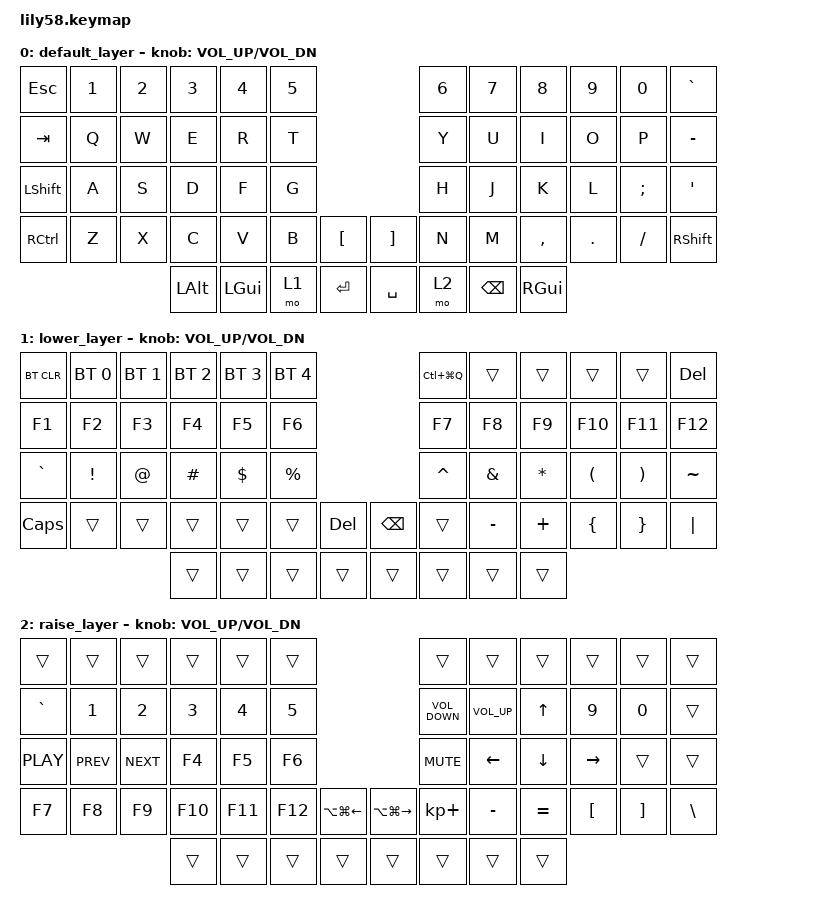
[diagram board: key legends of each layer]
/*
 * Copyright (c) 2020 The ZMK Contributors
 *
 * SPDX-License-Identifier: MIT
 */

#include <behaviors.dtsi>
#include <dt-bindings/zmk/bt.h>
#include <dt-bindings/zmk/keys.h>

/ {
    keymap {
        compatible = "zmk,keymap";

        default_layer {
            // ------------------------------------------------------------------------------------------------------------
            // |  ESC  |  1  |  2  |  3   |  4   |  5   |                   |  6   |  7    |  8    |  9   |   0   |   `   |
            // |  TAB  |  Q  |  W  |  E   |  R   |  T   |                   |  Y   |  U    |  I    |  O   |   P   |   -   |
            // |  CTRL |  A  |  S  |  D   |  F   |  G   |                   |  H   |  J    |  K    |  L   |   ;   |   '   |
            // | SHIFT |  Z  |  X  |  C   |  V   |  B   |   "["  |  |  "]"  |  N   |  M    |  ,    |  .   |   /   | SHIFT |
            //                     | ALT  | GUI  | LOWER|  ENTER |  | SPACE | RAISE| BSPC  | GUI   |

            bindings = <
&kp ESC            &kp N1  &kp N2  &kp N3    &kp N4    &kp N5                          &kp N6  &kp N7    &kp N8     &kp N9   &kp N0    &kp GRAVE
&kp TAB            &kp Q   &kp W   &kp E     &kp R     &kp T                           &kp Y   &kp U     &kp I      &kp O    &kp P     &kp MINUS
&kp LSHFT          &kp A   &kp S   &kp D     &kp F     &kp G                           &kp H   &kp J     &kp K      &kp L    &kp SEMI  &kp SQT
&kp RIGHT_CONTROL  &kp Z   &kp X   &kp C     &kp V     &kp B   &kp LBKT     &kp RBKT   &kp N   &kp M     &kp COMMA  &kp DOT  &kp FSLH  &kp RSHFT
                                   &kp LALT  &kp LGUI  &mo 1   &kp ENTER    &kp SPACE  &mo 2   &kp BSPC  &kp RGUI
            >;

            sensor-bindings = <&inc_dec_kp C_VOL_UP C_VOL_DN>;
        };

        lower_layer {
            // ------------------------------------------------------------------------------------------------------------
            // | BTCLR | BT1 | BT2 |  BT3 |  BT4 |  BT5 |                   |      |       |       |      |       |       |
            // |  F1   |  F2 |  F3 |  F4  |  F5  |  F6  |                   |  F7  |  F8   |  F9   |  F10 |  F11  |  F12  |
            // |   `   |  !  |  @  |  #   |  $   |  %   |                   |  ^   |  &    |  *    |  (   |   )   |   ~   |
            // |       |     |     |      |      |      |        |  | BSPC  |      |  _    |  +    |  {   |   }   |  "|"  |
            //                     |      |      |      |        |  |       |      |       |       |

            bindings = <
&bt BT_CLR    &bt BT_SEL 0  &bt BT_SEL 1  &bt BT_SEL 2  &bt BT_SEL 3  &bt BT_SEL 4                          &kp LC(LG(Q))  &trans     &trans     &trans    &trans    &kp DELETE
&kp F1        &kp F2        &kp F3        &kp F4        &kp F5        &kp F6                                &kp F7         &kp F8     &kp F9     &kp F10   &kp F11   &kp F12
&kp GRAVE     &kp EXCL      &kp AT        &kp HASH      &kp DOLLAR    &kp PRCNT                             &kp CARET      &kp AMPS   &kp ASTRK  &kp LPAR  &kp RPAR  &kp TILDE
&kp CAPSLOCK  &trans        &trans        &trans        &trans        &trans        &kp DELETE    &kp BSPC  &trans         &kp MINUS  &kp PLUS   &kp LBRC  &kp RBRC  &kp PIPE
                                          &trans        &trans        &trans        &trans        &trans    &trans         &trans     &trans
            >;

            sensor-bindings = <&inc_dec_kp C_VOL_UP C_VOL_DN>;
        };

        raise_layer {
            // ------------------------------------------------------------------------------------------------------------
            // |       |     |     |      |      |      |                   |      |       |       |      |       |       |
            // |   `   |  1  |  2  |  3   |  4   |  5   |                   |  6   |   7   |   8   |  9   |   0   |       |
            // |   F1  |  F2 |  F3 |  F4  |  F5  |  F6  |                   |      |   <-  |   v   |  ^   |  ->   |       |
            // |   F7  |  F8 |  F9 |  F10 |  F11 |  F12 |        |  |       |  +   |   -   |   =   |  [   |   ]   |   \   |
            //                     |      |      |      |        |  |       |      |       |       |

            bindings = <
&trans      &trans      &trans      &trans   &trans   &trans                                                      &trans             &trans           &trans        &trans     &trans    &trans
&kp GRAVE   &kp N1      &kp N2      &kp N3   &kp N4   &kp N5                                                      &kp C_VOLUME_DOWN  &kp C_VOLUME_UP  &kp UP_ARROW  &kp N9     &kp N0    &trans
&kp C_PLAY  &kp C_PREV  &kp C_NEXT  &kp F4   &kp F5   &kp F6                                                      &kp C_MUTE         &kp LEFT         &kp DOWN      &kp RIGHT  &trans    &trans
&kp F7      &kp F8      &kp F9      &kp F10  &kp F11  &kp F12  &kp LA(LG(LEFT_ARROW))    &kp LA(LG(RIGHT_ARROW))  &kp KP_PLUS        &kp MINUS        &kp EQUAL     &kp LBKT   &kp RBKT  &kp BSLH
                                    &trans   &trans   &trans   &trans                    &trans                   &trans             &trans           &trans
            >;

            sensor-bindings = <&inc_dec_kp C_VOL_UP C_VOL_DN>;
        };
    };
};
